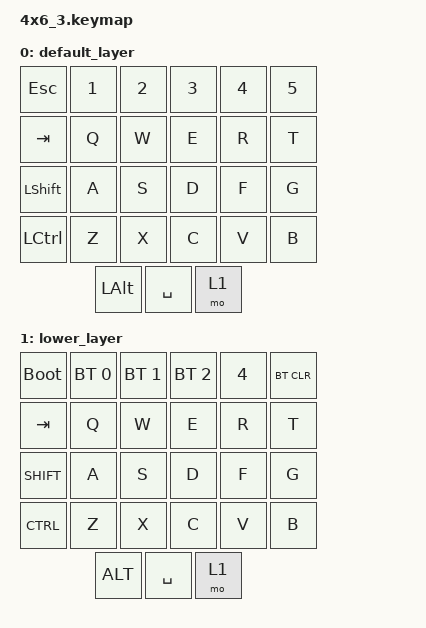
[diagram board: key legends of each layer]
#include <behaviors.dtsi>
#include <dt-bindings/zmk/keys.h>
#include <dt-bindings/zmk/bt.h>

/ {
    keymap {
       compatible = "zmk,keymap";

        default_layer {
            // -------------------------------------
            // |     ESC    |     N1    |     N2    |     N3    |     N4    |     N5    |
            // |     TAB    |     Q     |     W     |     E     |     R     |     T     |
            // |     SHIFT  |     A     |     S     |     D     |     F     |     G     |
            // |     CTRL   |     Z     |     X     |     C     |     V     |     B     |
            // |     NONE   |    NONE   |    NONE   |     D     |     E     |     F     |
            bindings = <
                &kp ESC    &kp N1    &kp N2    &kp N3    &kp N4    &kp N5
                &kp TAB    &kp Q    &kp W    &kp E    &kp R    &kp T
                &kp LSHIFT  &kp A    &kp S    &kp D    &kp F    &kp G    
                &kp LCTRL   &kp Z    &kp X    &kp C    &kp V    &kp B    
                                             &kp LALT    &kp SPACE    &mo 1
            >;
        };

         lower_layer {
            // -------------------------------------
            // |     ESC    |     N1    |     N2    |     N3    |     N4    |     N5    |
            // |     TAB    |     Q     |     W     |     E     |     R     |     T     |
            // |     SHIFT  |     A     |     S     |     D     |     F     |     G     |
            // |     CTRL   |     Z     |     X     |     C     |     V     |     B     |
            // |     NONE   |    NONE   |    NONE   |     D     |     E     |     F     |
            bindings = <
                &bootloader    &bt BT_SEL 0    &bt BT_SEL 1    &bt BT_SEL 2    &kp 4    &bt BT_CLR
                &kp TAB    &kp Q    &kp W    &kp E    &kp R    &kp T
                &kp SHIFT  &kp A    &kp S    &kp D    &kp F    &kp G    
                &kp CTRL   &kp Z    &kp X    &kp C    &kp V    &kp B    
                                             &kp ALT    &kp SPACE    &mo 1
            >;
        };
    };
 };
